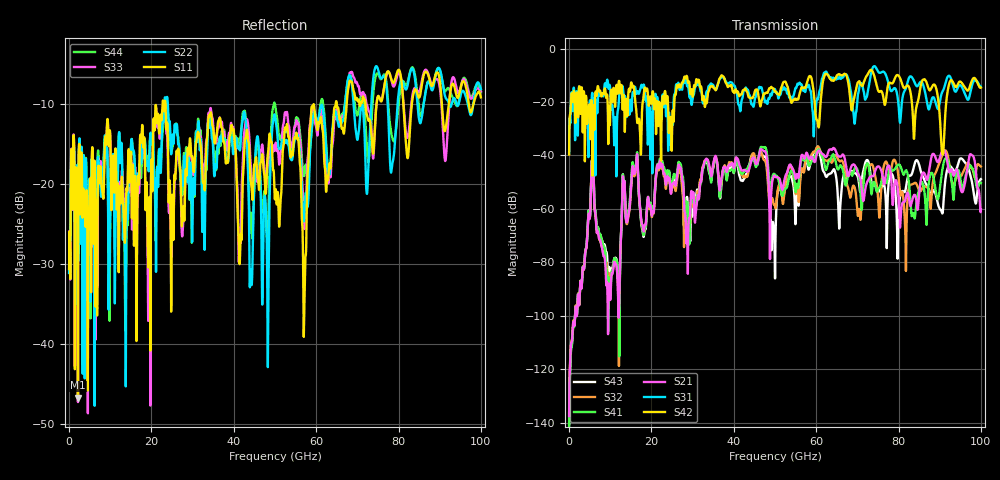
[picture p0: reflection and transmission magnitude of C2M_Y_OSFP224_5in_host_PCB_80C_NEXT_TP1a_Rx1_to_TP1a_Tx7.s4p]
# GHz S RI R 45
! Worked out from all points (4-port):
!   4000 points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, 25 MHz to 100 GHz, reference 45 ohm
!   strongest paths, dB at 25 MHz, 25.02 GHz, 50.02 GHz, 75.03 GHz, 100 GHz:
!     S42: -39.6, -28.1, -16.1, -15.6, -14.6
!     S31: -39.2, -26.0, -15.2, -8.5, -14.2
!     S21: -137.6, -50.9, -47.8, -44.1, -60.2
!     S41: -142.4, -49.5, -47.2, -52.7, -50.3
!     S32: -136.5, -51.7, -59.1, -55.6, -44.1
!     S43: -140.7, -50.5, -86.0, -52.6, -48.9
!   lowest |S11| = -46.7 dB at 2.175 GHz (marker M1), VSWR 1.01, Z = 44.6 + j0.0946 ohm
!   |S11| at or under -10 dB: start of sweep to 22.69 GHz; 23.42 GHz to 59.33 GHz (35.92 GHz wide, 86.8 % of centre); 59.44 GHz to 64.72 GHz (5.281 GHz wide, 8.51 % of centre)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
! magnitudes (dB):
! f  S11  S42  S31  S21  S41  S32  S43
! 25 MHz  -30.6  -39.6  -39.2  -137.6  -142.4  -136.5  -140.7
! 2.175 GHz  -46.7  -24.7  -27.7  -92.2  -92.1  -92.0  -91.9
! 5.7 GHz  -15.7  -47.6  -17.1  -40.4  -40.3  -40.3  -40.2
! 11.97 GHz  -24.7  -13.9  -22.1  -97.3  -88.4  -94.4  -87.4
! 16.23 GHz  -23.7  -21.5  -16.0  -44.5  -43.6  -45.0  -44.2
! 49.6 GHz  -18.2  -14.8  -15.9  -48.2  -47.0  -57.6  -65.8
! 100 GHz  -9.1  -14.6  -14.2  -60.2  -50.3  -44.1  -48.9
